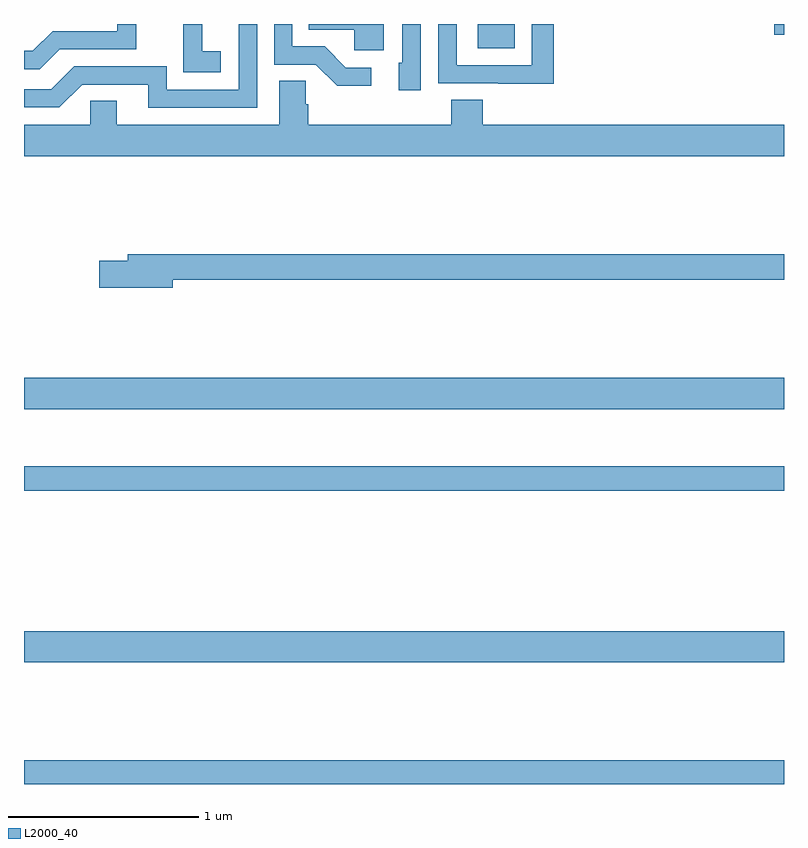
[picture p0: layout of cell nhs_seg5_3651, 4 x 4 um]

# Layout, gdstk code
import gdstk
lib = gdstk.Library(unit=1e-6, precision=1e-09)
def R(c, l, rs):  # rectangles x0, y0, x1, y1
    for r in rs: c.add(gdstk.rectangle(r[:2], r[2:], *l))
def P(c, l, *ps):  # polygons
    for p in ps: c.add(gdstk.Polygon(p, *l))
L2000_40 = (2000, 40)

nhs_seg5_3651 = lib.new_cell('nhs_seg5_3651')
R(nhs_seg5_3651, L2000_40, [(327,842.799,331,842.924), (327,843.44,331,843.604), (327,844.342,331,844.471), (327,844.772,331,844.936), (329.387,846.671,329.584,846.799), (330.948,846.742,331,846.799)])
P(nhs_seg5_3651, L2000_40, [(327.187,846.666),(327.591,846.666),(327.591,846.799),(327.492,846.799),(327.492,846.762),(327.15,846.762),(327.046,846.658),(327,846.658),(327,846.561),(327.082,846.561)],
  [(328.828,846.57),(328.693,846.57),(328.582,846.681),(328.413,846.681),(328.413,846.799),(328.317,846.799),(328.317,846.585),(328.536,846.585),(328.649,846.473),(328.828,846.473)],
  [(328.894,846.799),(328.498,846.799),(328.498,846.77),(328.737,846.77),(328.737,846.662),(328.894,846.662)],
  [(328.036,846.655),(327.938,846.655),(327.938,846.799),(327.839,846.799),(327.839,846.751),(327.838,846.751),(327.838,846.545),(328.036,846.545)],
  [(328.227,846.799),(328.131,846.799),(328.131,846.453),(327.75,846.453),(327.75,846.576),(327.264,846.576),(327.144,846.456),(327,846.456),(327,846.36),(327.186,846.36),(327.306,846.48),(327.653,846.48),(327.653,846.357),(328.227,846.357)],
  [(329.088,846.799),(328.992,846.799),(328.992,846.594),(328.973,846.594),(328.973,846.45),(329.088,846.45)],
  [(329.789,846.799),(329.673,846.799),(329.673,846.582),(329.277,846.582),(329.277,846.799),(329.181,846.799),(329.181,846.486),(329.497,846.486),(329.497,846.485),(329.789,846.485)],
  [(331,846.268),(329.414,846.268),(329.414,846.401),(329.249,846.401),(329.249,846.268),(328.496,846.268),(328.496,846.377),(328.482,846.377),(328.482,846.5),(328.343,846.5),(328.343,846.268),(327.487,846.268),(327.487,846.395),(327.348,846.395),(327.348,846.268),(327,846.268),(327,846.104),(331,846.104)],
  [(327.784,845.452),(331,845.452),(331,845.588),(327.545,845.588),(327.545,845.552),(327.396,845.552),(327.396,845.41),(327.784,845.41)])

lib.write_gds('nhs_seg5_3651.gds')
